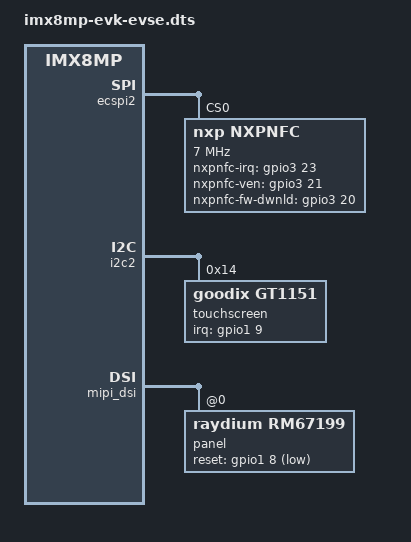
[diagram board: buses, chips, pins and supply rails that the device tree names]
// SPDX-License-Identifier: (GPL-2.0+ OR MIT)
/*
 * Copyright 2023 NXP
 */

/dts-v1/;

#include "imx8mp-evk.dts"

/delete-node/ &spidev1;

&adv_bridge {
	status = "disabled";
};

&ecspi2 {
	nxpnfc: nxpnfc@0 {
	compatible = "nxp,nxpnfc";
	reg = <0>;
	nxp,nxpnfc-irq = <&gpio3 23 GPIO_ACTIVE_HIGH>;
	nxp,nxpnfc-ven = <&gpio3 21 GPIO_ACTIVE_HIGH>;
	nxp,nxpnfc-fw-dwnld = <&gpio3 20 GPIO_ACTIVE_HIGH>;
	spi-max-frequency = <7000000>;
	};
};

&i2c2 {
	touchscreen@14 {
		compatible = "goodix,gt1151";
		reg = <0x14>;
		pinctrl-names = "default";
		pinctrl-0 = <&pinctrl_i2c2_synaptics_dsx_io>;
		interrupt-parent = <&gpio1>;
		interrupts = <9 IRQ_TYPE_EDGE_FALLING>;
		irq-gpios = <&gpio1 9 GPIO_ACTIVE_HIGH>;
		edge-failling-trigger;
		touchscreen-size-x = <1080>;
		touchscreen-size-y = <1920>;
	};
};

&micfil {
	status = "disabled";
};

&mipi_dsi {
	panel@0 {
		compatible = "raydium,rm67199";
		reg = <0>;
		pinctrl-0 = <&pinctrl_mipi_dsi_en>;
		reset-gpio = <&gpio1 8 GPIO_ACTIVE_LOW>;
		dsi-lanes = <4>;
		video-mode = <2>;	/* 0: burst mode
					 * 1: non-burst mode with sync event
					 * 2: non-burst mode with sync pulse
					 */
		panel-width-mm = <68>;
		panel-height-mm = <121>;
		status = "okay";
	};
};

&uart3 {
	/delete-property/ uart-has-rtscts;
	pinctrl-0 = <&pinctrl_uart3_meter>;
};

&iomuxc {
	pinctrl_uart3_meter: uart3grp {
		fsl,pins = <
			MX8MP_IOMUXC_ECSPI1_SCLK__UART3_DCE_RX		0x140
			MX8MP_IOMUXC_ECSPI1_MOSI__UART3_DCE_TX		0x140
		>;
	};
};
